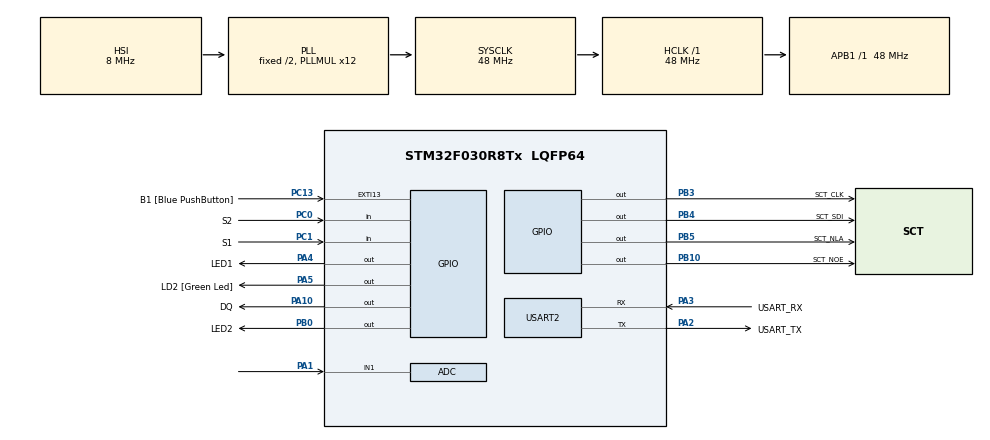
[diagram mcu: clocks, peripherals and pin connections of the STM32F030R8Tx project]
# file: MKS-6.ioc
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ADC.ContinuousConvMode=ENABLE
ADC.Overrun=ADC_OVR_DATA_OVERWRITTEN
ADC.Resolution=ADC_RESOLUTION_10B
Mcu.Family=STM32F0
Mcu.Name=STM32F030R8Tx
Mcu.Package=LQFP64
PA1.Mode=IN1
PA1.Signal=ADC_IN1
PA10.GPIO_Label=DQ
PA10.GPIO_ModeDefaultOutputPP=GPIO_MODE_OUTPUT_OD
PA10.GPIO_PuPd=GPIO_NOPULL
PA10.PinState=GPIO_PIN_SET
PA10.Signal=GPIO_Output
PA13.GPIO_Label=TMS
PA13.Mode=Serial_Wire
PA13.Signal=SYS_SWDIO
PA14.GPIO_Label=TCK
PA14.Mode=Serial_Wire
PA14.Signal=SYS_SWCLK
PA2.GPIO_Label=USART_TX
PA2.GPIO_Mode=GPIO_MODE_AF_PP
PA2.GPIO_PuPd=GPIO_NOPULL
PA2.GPIO_Speed=GPIO_SPEED_FREQ_LOW
PA2.Mode=Asynchronous
PA2.Signal=USART2_TX
PA3.GPIO_Label=USART_RX
PA3.GPIO_Mode=GPIO_MODE_AF_PP
PA3.GPIO_PuPd=GPIO_NOPULL
PA3.GPIO_Speed=GPIO_SPEED_FREQ_LOW
PA3.Mode=Asynchronous
PA3.Signal=USART2_RX
PA4.GPIO_Label=LED1
PA4.Signal=GPIO_Output
PA5.GPIO_Label=LD2 [Green Led]
PA5.GPIO_Mode=GPIO_MODE_OUTPUT_PP
PA5.GPIO_PuPd=GPIO_NOPULL
PA5.GPIO_Speed=GPIO_SPEED_FREQ_LOW
PA5.Signal=GPIO_Output
PB0.GPIO_Label=LED2
PB0.Signal=GPIO_Output
PB10.GPIO_Label=SCT_NOE
PB10.Signal=GPIO_Output
PB3.GPIO_Label=SCT_CLK
PB3.Signal=GPIO_Output
PB4.GPIO_Label=SCT_SDI
PB4.Signal=GPIO_Output
PB5.GPIO_Label=SCT_NLA
PB5.Signal=GPIO_Output
PC0.GPIO_Label=S2
PC0.GPIO_PuPd=GPIO_PULLUP
PC0.Signal=GPIO_Input
PC1.GPIO_Label=S1
PC1.GPIO_PuPd=GPIO_PULLUP
PC1.Signal=GPIO_Input
PC13.GPIO_Label=B1 [Blue PushButton]
PC13.GPIO_ModeDefaultEXTI=GPIO_MODE_IT_FALLING
PC13.Signal=GPXTI13
PC14-OSC32_IN.Mode=LSE-External-Oscillator
PC14-OSC32_IN.Signal=RCC_OSC32_IN
PC15-OSC32_OUT.Mode=LSE-External-Oscillator
PC15-OSC32_OUT.Signal=RCC_OSC32_OUT
PF0-OSC_IN.Mode=HSE-External-Clock-Source
PF0-OSC_IN.Signal=RCC_OSC_IN
PF1-OSC_OUT.Signal=RCC_OSC_OUT
ProjectManager.HeapSize=0x200
ProjectManager.StackSize=0x400
ProjectManager.TargetToolchain=STM32CubeIDE
RCC.AHBFreq_Value=48000000
RCC.APB1Freq_Value=48000000
RCC.APB1TimFreq_Value=48000000
RCC.HCLKFreq_Value=48000000
RCC.PLLMUL=RCC_PLL_MUL12
RCC.SYSCLKFreq_VALUE=48000000
RCC.SYSCLKSource=RCC_SYSCLKSOURCE_PLLCLK
USART2.VirtualMode-Asynchronous=VM_ASYNC
board=NUCLEO-F030R8

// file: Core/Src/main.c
/* USER CODE BEGIN Header */
/**
  ******************************************************************************
  * @file           : main.c
  * @brief          : Main program body
  ******************************************************************************
  * @attention
  *
  * Copyright (c) 2024 STMicroelectronics.
  * All rights reserved.
  *
  * This software is licensed under terms that can be found in the LICENSE file
  * in the root directory of this software component.
  * If no LICENSE file comes with this software, it is provided AS-IS.
  *
  ******************************************************************************
  */
/* USER CODE END Header */
#include "main.h"

/* USER CODE BEGIN Includes */
#include "sct.h"
#include "1wire.h"

/* USER CODE END Includes */

ADC_HandleTypeDef hadc;

UART_HandleTypeDef huart2;

/* USER CODE BEGIN PV */
int16_t data[] = {
#include "data.dlm"
};
static enum { S2NTC, S1DS } state;
/* USER CODE END PV */

void SystemClock_Config(void);
static void MX_GPIO_Init(void);
static void MX_USART2_UART_Init(void);
static void MX_ADC_Init(void);

int main(void)
{

  /* MCU Configuration--------------------------------------------------------*/

  /* Reset of all peripherals, Initializes the Flash interface and the Systick. */
  HAL_Init();

  /* Configure the system clock */
  SystemClock_Config();

  /* Initialize all configured peripherals */
  MX_GPIO_Init();
  MX_USART2_UART_Init();
  MX_ADC_Init();
  /* USER CODE BEGIN 2 */
  HAL_ADCEx_Calibration_Start(&hadc);
  HAL_ADC_Start(&hadc);
  OWInit();

  sct_init();
  sct_value(888, 8);
  state = S1DS;

  /* USER CODE END 2 */

  /* Infinite loop */
  while (1)
  {

    /* USER CODE BEGIN 3 */
	  static uint32_t result = 0;
	  static int16_t value;
	  static uint32_t timeADC = 0;
	  static uint32_t timeDS = 0;
	  static uint8_t converting = 0;
	  static uint8_t start = 0;
	  if (HAL_GetTick() > (timeADC + 1000)) {
		  result = HAL_ADC_GetValue(&hadc);
		  timeADC = HAL_GetTick();
	  }

	  if (!converting && (HAL_GetTick() > (timeDS + CONVERT_T_DELAY) )) {
		  OWConvertAll();
		  timeDS = HAL_GetTick();
		  converting = 1;
	  }

	  if (HAL_GetTick() > (timeDS + CONVERT_T_DELAY)) {
		  OWReadTemperature(&value);
		  converting = 0;
		  start = 1;
	  }

	  if (HAL_GPIO_ReadPin(S1_GPIO_Port, S1_Pin) == 0) {
		  state = S1DS;
	  } else if (HAL_GPIO_ReadPin(S2_GPIO_Port, S2_Pin) == 0) {
		  state = S2NTC;
	  }
	  switch (state) {
	  	  case S2NTC:
	  		  sct_value(data[result], 0);
	  		  HAL_GPIO_WritePin(LED2_GPIO_Port, LED2_Pin, 1);
	  		  HAL_GPIO_WritePin(LED1_GPIO_Port, LED1_Pin, 0);
	  		  break;
	  	  case S1DS:
	  		  if (!start) {
	  			  sct_value(888,8);
	  		  }
	  		  if (start && OWReadTemperature(&value)) {
	  			  sct_value(value/10 , 0);
	  		  }
	  		  HAL_GPIO_WritePin(LED2_GPIO_Port, LED2_Pin, 0);
	  		  HAL_GPIO_WritePin(LED1_GPIO_Port, LED1_Pin, 1);
	  		  break;
	  }
  }
  /* USER CODE END 3 */
}

void SystemClock_Config(void)
{
  RCC_OscInitTypeDef RCC_OscInitStruct = {0};
  RCC_ClkInitTypeDef RCC_ClkInitStruct = {0};

  /** Initializes the RCC Oscillators according to the specified parameters
  * in the RCC_OscInitTypeDef structure.
  */
  RCC_OscInitStruct.OscillatorType = RCC_OSCILLATORTYPE_HSI|RCC_OSCILLATORTYPE_HSI14;
  RCC_OscInitStruct.HSIState = RCC_HSI_ON;
  RCC_OscInitStruct.HSI14State = RCC_HSI14_ON;
  RCC_OscInitStruct.HSICalibrationValue = RCC_HSICALIBRATION_DEFAULT;
  RCC_OscInitStruct.HSI14CalibrationValue = 16;
  RCC_OscInitStruct.PLL.PLLState = RCC_PLL_ON;
  RCC_OscInitStruct.PLL.PLLSource = RCC_PLLSOURCE_HSI;
  RCC_OscInitStruct.PLL.PLLMUL = RCC_PLL_MUL12;
  RCC_OscInitStruct.PLL.PREDIV = RCC_PREDIV_DIV1;
  if (HAL_RCC_OscConfig(&RCC_OscInitStruct) != HAL_OK)
  {
    Error_Handler();
  }

  /** Initializes the CPU, AHB and APB buses clocks
  */
  RCC_ClkInitStruct.ClockType = RCC_CLOCKTYPE_HCLK|RCC_CLOCKTYPE_SYSCLK
                              |RCC_CLOCKTYPE_PCLK1;
  RCC_ClkInitStruct.SYSCLKSource = RCC_SYSCLKSOURCE_PLLCLK;
  RCC_ClkInitStruct.AHBCLKDivider = RCC_SYSCLK_DIV1;
  RCC_ClkInitStruct.APB1CLKDivider = RCC_HCLK_DIV1;

  if (HAL_RCC_ClockConfig(&RCC_ClkInitStruct, FLASH_LATENCY_1) != HAL_OK)
  {
    Error_Handler();
  }
}

static void MX_ADC_Init(void)
{

  ADC_ChannelConfTypeDef sConfig = {0};

  /** Configure the global features of the ADC (Clock, Resolution, Data Alignment and number of conversion)
  */
  hadc.Instance = ADC1;
  hadc.Init.ClockPrescaler = ADC_CLOCK_ASYNC_DIV1;
  hadc.Init.Resolution = ADC_RESOLUTION_10B;
  hadc.Init.DataAlign = ADC_DATAALIGN_RIGHT;
  hadc.Init.ScanConvMode = ADC_SCAN_DIRECTION_FORWARD;
  hadc.Init.EOCSelection = ADC_EOC_SINGLE_CONV;
  hadc.Init.LowPowerAutoWait = DISABLE;
  hadc.Init.LowPowerAutoPowerOff = DISABLE;
  hadc.Init.ContinuousConvMode = ENABLE;
  hadc.Init.DiscontinuousConvMode = DISABLE;
  hadc.Init.ExternalTrigConv = ADC_SOFTWARE_START;
  hadc.Init.ExternalTrigConvEdge = ADC_EXTERNALTRIGCONVEDGE_NONE;
  hadc.Init.DMAContinuousRequests = DISABLE;
  hadc.Init.Overrun = ADC_OVR_DATA_OVERWRITTEN;
  if (HAL_ADC_Init(&hadc) != HAL_OK)
  {
    Error_Handler();
  }

  /** Configure for the selected ADC regular channel to be converted.
  */
  sConfig.Channel = ADC_CHANNEL_1;
  sConfig.Rank = ADC_RANK_CHANNEL_NUMBER;
  sConfig.SamplingTime = ADC_SAMPLETIME_1CYCLE_5;
  if (HAL_ADC_ConfigChannel(&hadc, &sConfig) != HAL_OK)
  {
    Error_Handler();
  }

}

static void MX_USART2_UART_Init(void)
{

  huart2.Instance = USART2;
  huart2.Init.BaudRate = 38400;
  huart2.Init.WordLength = UART_WORDLENGTH_8B;
  huart2.Init.StopBits = UART_STOPBITS_1;
  huart2.Init.Parity = UART_PARITY_NONE;
  huart2.Init.Mode = UART_MODE_TX_RX;
  huart2.Init.HwFlowCtl = UART_HWCONTROL_NONE;
  huart2.Init.OverSampling = UART_OVERSAMPLING_16;
  huart2.Init.OneBitSampling = UART_ONE_BIT_SAMPLE_DISABLE;
  huart2.AdvancedInit.AdvFeatureInit = UART_ADVFEATURE_NO_INIT;
  if (HAL_UART_Init(&huart2) != HAL_OK)
  {
    Error_Handler();
  }

}

static void MX_GPIO_Init(void)
{
  GPIO_InitTypeDef GPIO_InitStruct = {0};

  /* GPIO Ports Clock Enable */
  __HAL_RCC_GPIOC_CLK_ENABLE();
  __HAL_RCC_GPIOF_CLK_ENABLE();
  __HAL_RCC_GPIOA_CLK_ENABLE();
  __HAL_RCC_GPIOB_CLK_ENABLE();

  /*Configure GPIO pin Output Level */
  HAL_GPIO_WritePin(GPIOA, LED1_Pin|LD2_Pin, GPIO_PIN_RESET);

  /*Configure GPIO pin Output Level */
  HAL_GPIO_WritePin(GPIOB, LED2_Pin|SCT_NOE_Pin|SCT_CLK_Pin|SCT_SDI_Pin
                          |SCT_NLA_Pin, GPIO_PIN_RESET);

  /*Configure GPIO pin Output Level */
  HAL_GPIO_WritePin(DQ_GPIO_Port, DQ_Pin, GPIO_PIN_SET);

  /*Configure GPIO pin : B1_Pin */
  GPIO_InitStruct.Pin = B1_Pin;
  GPIO_InitStruct.Mode = GPIO_MODE_IT_FALLING;
  GPIO_InitStruct.Pull = GPIO_NOPULL;
  HAL_GPIO_Init(B1_GPIO_Port, &GPIO_InitStruct);

  /*Configure GPIO pins : S2_Pin S1_Pin */
  GPIO_InitStruct.Pin = S2_Pin|S1_Pin;
  GPIO_InitStruct.Mode = GPIO_MODE_INPUT;
  GPIO_InitStruct.Pull = GPIO_PULLUP;
  HAL_GPIO_Init(GPIOC, &GPIO_InitStruct);

  /*Configure GPIO pins : LED1_Pin LD2_Pin */
  GPIO_InitStruct.Pin = LED1_Pin|LD2_Pin;
  GPIO_InitStruct.Mode = GPIO_MODE_OUTPUT_PP;
  GPIO_InitStruct.Pull = GPIO_NOPULL;
  GPIO_InitStruct.Speed = GPIO_SPEED_FREQ_LOW;
  HAL_GPIO_Init(GPIOA, &GPIO_InitStruct);

  /*Configure GPIO pins : LED2_Pin SCT_NOE_Pin SCT_CLK_Pin SCT_SDI_Pin
                           SCT_NLA_Pin */
  GPIO_InitStruct.Pin = LED2_Pin|SCT_NOE_Pin|SCT_CLK_Pin|SCT_SDI_Pin
                          |SCT_NLA_Pin;
  GPIO_InitStruct.Mode = GPIO_MODE_OUTPUT_PP;
  GPIO_InitStruct.Pull = GPIO_NOPULL;
  GPIO_InitStruct.Speed = GPIO_SPEED_FREQ_LOW;
  HAL_GPIO_Init(GPIOB, &GPIO_InitStruct);

  /*Configure GPIO pin : DQ_Pin */
  GPIO_InitStruct.Pin = DQ_Pin;
  GPIO_InitStruct.Mode = GPIO_MODE_OUTPUT_OD;
  GPIO_InitStruct.Pull = GPIO_NOPULL;
  GPIO_InitStruct.Speed = GPIO_SPEED_FREQ_LOW;
  HAL_GPIO_Init(DQ_GPIO_Port, &GPIO_InitStruct);

}

void Error_Handler(void)
{
  __disable_irq();
  while (1)
  {
  }
}
